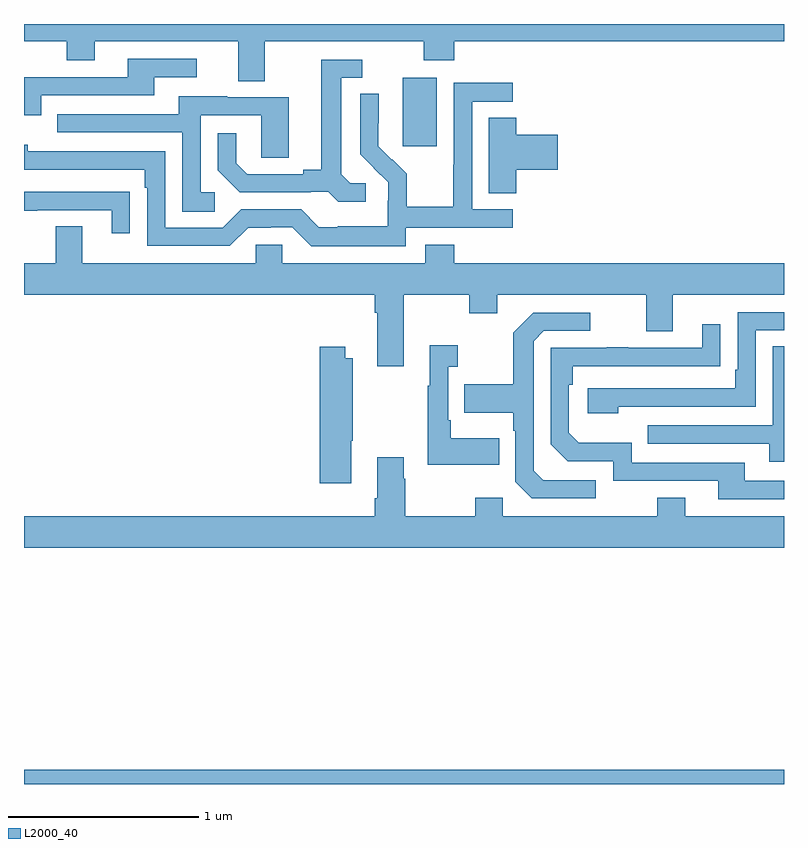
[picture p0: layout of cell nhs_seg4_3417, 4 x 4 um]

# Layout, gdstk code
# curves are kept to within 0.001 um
import gdstk
lib = gdstk.Library(unit=1e-6, precision=1e-09)
def R(c, l, rs):  # rectangles x0, y0, x1, y1
    for r in rs: c.add(gdstk.rectangle(r[:2], r[2:], *l))
def P(c, l, *ps):  # polygons
    for p in ps: c.add(gdstk.Polygon(p, *l))
L2000_40 = (2000, 40)

nhs_seg4_3417 = lib.new_cell('nhs_seg4_3417')
R(nhs_seg4_3417, L2000_40, [(291,804.9,295,804.976), (292.994,808.257,293.173,808.618)])
P(nhs_seg4_3417, L2000_40, [(292.267,808.808),(293.104,808.808),(293.104,808.709),(293.264,808.709),(293.264,808.808),(295,808.808),(295,808.9),(291,808.9),(291,808.808),(291.226,808.808),(291.226,808.709),(291.373,808.709),(291.373,808.808),(292.127,808.808),(292.127,808.6),(292.267,808.6)],
  [(291.09,808.524),(291.685,808.524),(291.685,808.62),(291.91,808.62),(291.91,808.716),(291.545,808.716),(291.545,808.62),(291,808.62),(291,808.421),(291.09,808.421)],
  [(292.798,808.062),(292.716,808.062),(292.669,808.109),(292.669,808.617),(292.78,808.617),(292.78,808.713),(292.565,808.713),(292.565,808.133),(292.469,808.133),(292.469,808.11),(292.174,808.11),(292.117,808.167),(292.117,808.324),(292.02,808.324),(292.02,808.13),(292.136,808.014),(292.508,808.014),(292.508,808.017),(292.602,808.017),(292.654,807.965),(292.798,807.965)],
  [(293.01,807.828),(293.572,807.828),(293.572,807.924),(293.358,807.924),(293.358,808.491),(293.572,808.491),(293.572,808.59),(293.262,808.59),(293.262,808.16),(293.26,808.16),(293.26,807.937),(293.015,807.937),(293.015,808.111),(292.938,808.188),(292.935,808.185),(292.865,808.256),(292.866,808.532),(292.77,808.532),(292.77,808.214),(292.916,808.066),(292.916,807.969),(292.914,807.969),(292.914,807.835),(292.651,807.835),(292.651,807.831),(292.551,807.831),(292.458,807.924),(292.143,807.924),(292.047,807.828),(291.744,807.828),(291.744,808.23),(291.02,808.23),(291.02,808.264),(291,808.264),(291,808.134),(291.635,808.134),(291.635,808.037),(291.648,808.037),(291.648,807.732),(292.083,807.732),(292.179,807.828),(292.298,807.828),(292.298,807.831),(292.413,807.831),(292.513,807.731),(293.01,807.731)],
  [(292.003,808.014),(291.93,808.014),(291.93,808.419),(292.248,808.419),(292.248,808.195),(292.393,808.195),(292.393,808.515),(292.069,808.515),(292.069,808.519),(291.815,808.519),(291.815,808.425),(291.175,808.425),(291.175,808.329),(291.834,808.329),(291.834,807.913),(292.003,807.913)],
  [(293.591,808.133),(293.809,808.133),(293.809,808.316),(293.591,808.316),(293.591,808.406),(293.447,808.406),(293.447,808.009),(293.591,808.009)],
  [(291.557,808.016),(291.455,808.016),(291.455,808.017),(291,808.017),(291,807.916),(291.071,807.916),(291.071,807.921),(291.461,807.921),(291.461,807.798),(291.557,807.798)],
  [(292.999,807.476),(293.344,807.476),(293.344,807.377),(293.491,807.377),(293.491,807.476),(294.275,807.476),(294.275,807.282),(294.415,807.282),(294.415,807.476),(295,807.476),(295,807.64),(293.264,807.64),(293.264,807.739),(293.111,807.739),(293.111,807.64),(292.359,807.64),(292.359,807.738),(292.221,807.738),(292.221,807.64),(291.307,807.64),(291.307,807.835),(291.167,807.835),(291.167,807.64),(291,807.64),(291,807.476),(292.847,807.476),(292.847,807.38),(292.859,807.38),(292.859,807.099),(292.999,807.099)],
  [(294.128,806.886),(294.852,806.886),(294.852,807.288),(295,807.288),(295,807.384),(294.756,807.384),(294.756,807.079),(294.743,807.079),(294.743,806.982),(293.967,806.982),(293.967,806.852),(294.128,806.852)],
  [(294.01,806.499),(293.733,806.499),(293.682,806.55),(293.682,807.231),(293.736,807.285),(293.98,807.285),(293.98,807.381),(293.679,807.381),(293.574,807.275),(293.574,807.003),(293.317,807.003),(293.317,806.855),(293.574,806.855),(293.574,806.759),(293.586,806.759),(293.586,806.49),(293.673,806.403),(294.01,806.403)],
  [(295,806.496),(294.793,806.496),(294.793,806.592),(294.198,806.592),(294.198,806.695),(293.921,806.695),(293.868,806.748),(293.868,807.002),(293.888,807.002),(293.888,807.099),(294.665,807.1),(294.665,807.319),(294.569,807.319),(294.569,807.195),(294.179,807.195),(294.179,807.2),(294.067,807.2),(294.067,807.195),(293.772,807.195),(293.772,806.688),(293.862,806.598),(294.102,806.598),(294.102,806.496),(294.653,806.496),(294.653,806.4),(295,806.4)],
  [(293.501,806.719),(293.245,806.719),(293.245,806.815),(293.232,806.815),(293.232,807.095),(293.284,807.095),(293.284,807.208),(293.135,807.208),(293.135,806.995),(293.124,806.995),(293.124,806.579),(293.501,806.579)],
  [(295,807.203),(294.942,807.203),(294.942,806.787),(294.283,806.787),(294.283,806.691),(294.923,806.691),(294.923,806.597),(295,806.597)],
  [(292.723,806.707),(292.731,806.707),(292.731,807.142),(292.69,807.142),(292.69,807.202),(292.556,807.202),(292.556,806.484),(292.723,806.484)],
  [(295,806.308),(294.481,806.308),(294.481,806.407),(294.334,806.407),(294.334,806.308),(293.52,806.308),(293.52,806.407),(293.374,806.407),(293.374,806.308),(293.007,806.308),(293.007,806.507),(292.999,806.507),(292.999,806.62),(292.859,806.62),(292.859,806.404),(292.847,806.404),(292.847,806.308),(291,806.308),(291,806.144),(295,806.144)])

lib.write_gds('nhs_seg4_3417.gds')
